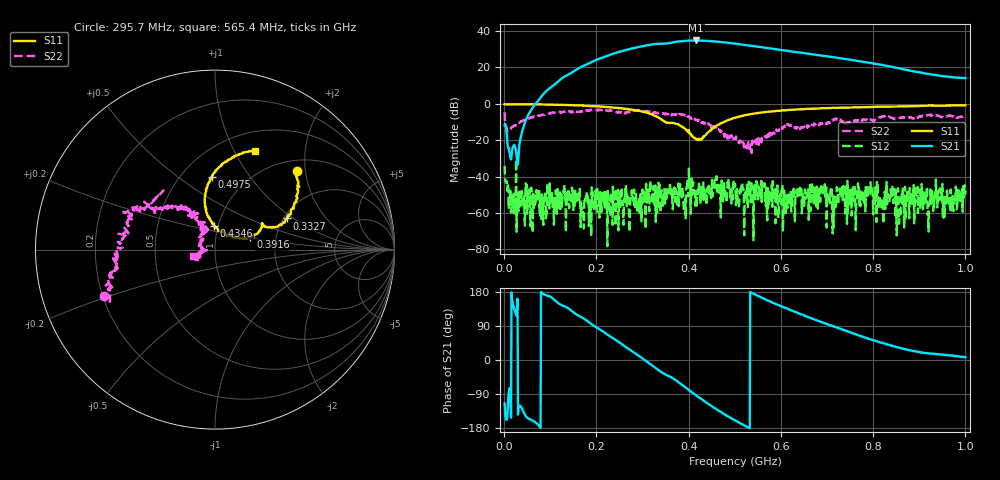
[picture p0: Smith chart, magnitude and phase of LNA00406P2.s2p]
! Created with skrf 1.9.0 (http://scikit-rf.org).
# Hz S RI R 50.0
!freq ReS11 ImS11 ReS21 ImS21 ReS12 ImS12 ReS22 ImS22
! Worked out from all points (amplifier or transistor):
!   1001 points, 1 MHz to 1 GHz, reference 50 ohm
!   highest |S21| = 34.8 dB at 416.6 MHz (marker M1)
!   |S21| within 3 dB of that: 303.1 MHz to 538.5 MHz (235.4 MHz wide, 55.9 % of centre)
!   unconditionally stable (mu >= 1): start of sweep to 130.7 MHz; 299.9 MHz to 400.3 MHz; 401 MHz to end of sweep (the widest 3 of 17)
!   at 166.8 MHz: K = 2.31, MAG = 30.9 dB, |S12| = -54.4 dB
!   at 500.5 MHz: K = 1.55, MAG = 34.1 dB, |S12| = -43.8 dB
!   at 1 GHz: K = 4.31, MAG = 22.7 dB, |S12| = -49.9 dB
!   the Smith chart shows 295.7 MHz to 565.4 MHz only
!   S11 on the Smith chart (normalised r, x): 295.7 MHz: 1.23, +1.81; 332.7 MHz: 2.09, +0.90; 391.6 MHz: 1.47, +0.22; 434.6 MHz: 0.96, +0.25; 497.5 MHz: 0.69, +0.68; 565.4 MHz: 0.71, +1.21
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1000000  0.7771 -0.6032  -0.1114 -0.2423  0.0189 -0.00614  0.4594 0.3601
1.02898e8  -0.697 0.6448  -2.859 0.7621  0.00403 -0.000243  0.4496 -0.3437
1.67833e8  -0.2513 0.8631  -4.105 9.706  0.000865 -0.00112  0.0379 -0.6319
2.06794e8  0.033 0.8489  2.626 17.37  0.000594 -0.000446  -0.1705 -0.6486
2.41759e8  0.2496 0.7379  15.11 20.13  -0.00018 0.000399  -0.3221 -0.5335
2.69731e8  0.3849 0.6017  27.48 15.44  0.000813 0.00127  -0.4846 -0.3463
2.95705e8  0.4583 0.4387  37.21 5.115  -0.000885 0.00321  -0.6208 -0.2579
3.32668e8  0.4028 0.1738  40.58 -18.69  -0.00385 0.00323  -0.5681 -0.0487
3.34666e8  0.388 0.1508  39.9 -20.02  0.00371 0.00568  -0.5462 -0.0878
3.68632e8  0.2654 0.1325  31.64 -38.2  -0.00312 0.00397  -0.4872 0.1508
3.91609e8  0.1969 0.0708  17.54 -51.04  0.000633 0.00183  -0.4413 0.2256
4.16584e8  0.0715 0.0817  -3.539 -55.14  0.00319 0.000755  -0.2826 0.232
4.34566e8  -0.00575 0.13  -17.72 -51.12  0.00143 0.00415  -0.1746 0.2222
4.63537e8  -0.056 0.2579  -34.48 -37.7  0.0057 0.00194  -0.0975 0.1809
4.97503e8  -0.0189 0.407  -42.01 -17.8  0.00706 -0.00178  -0.0798 0.0835
5.005e8  -0.014 0.4131  -42.58 -15.91  -0.000839 0.00637  -0.046 0.1005
5.65435e8  0.2209 0.5504  -32.94 11.81  0.00128 0.00136  -0.1232 -0.0348
6.11389e8  0.3867 0.5456  -21.03 19.76  0.00185 -0.00245  -0.2534 -0.0962
6.67333e8  0.5728 0.4611  -7.61 21.62  -0.00383 -0.00601  -0.2675 -0.04
7.53247e8  0.7485 0.2705  5.038 15.22  -2.96e-05 -0.000848  -0.3188 0.0237
8.34166e8  0.8384 0.066  8.278 6.937  -0.00125 -0.00213  -0.4336 0.0957
1e9  0.8172 -0.4091  5.071 0.6547  0.0021 -0.00243  -0.172 0.4026
